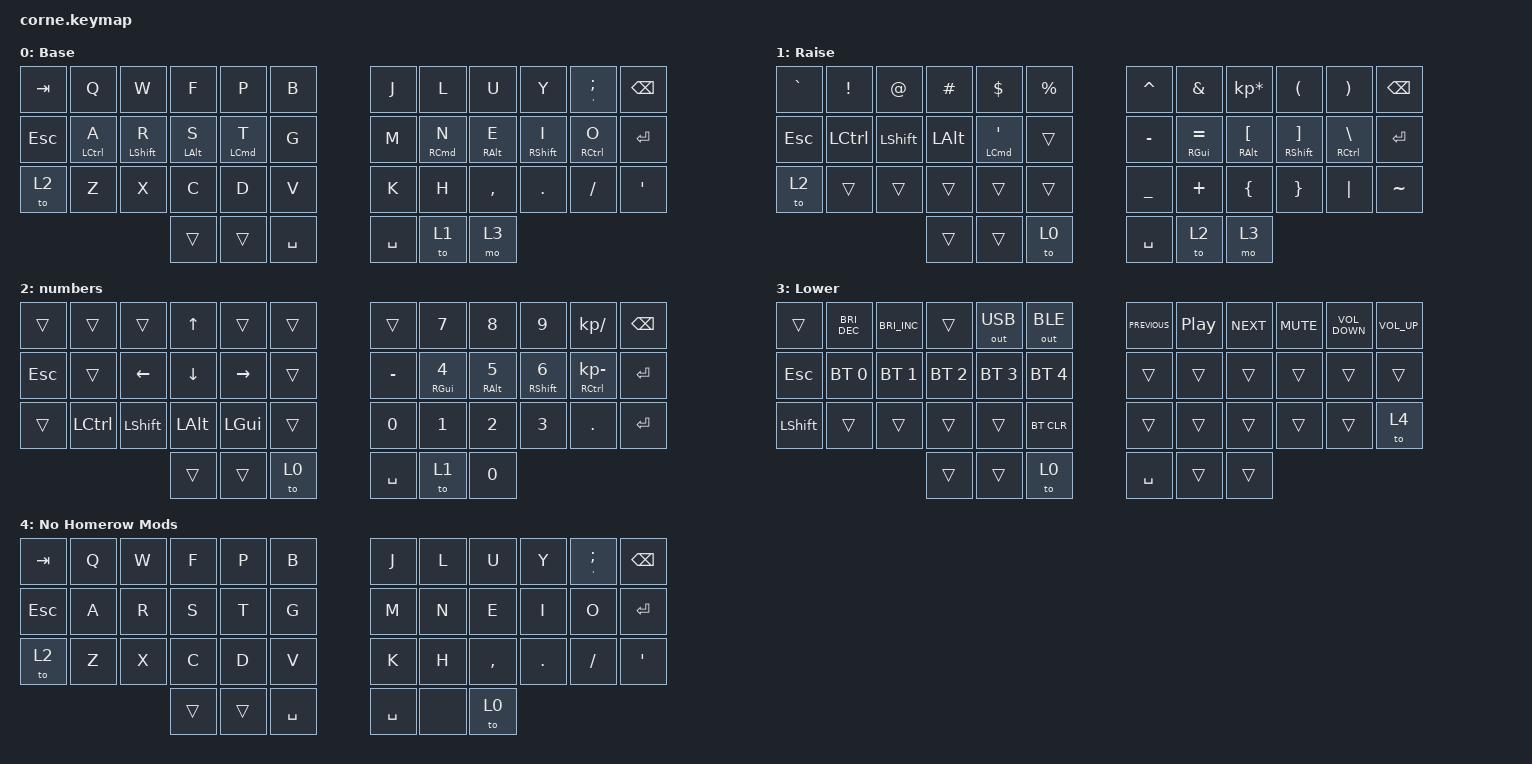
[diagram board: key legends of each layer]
/*
 * Copyright (c) 2020 The ZMK Contributors
 *
 * SPDX-License-Identifier: MIT
 */

#include <behaviors.dtsi>
#include <dt-bindings/zmk/bt.h>
#include <dt-bindings/zmk/keys.h>
#include <dt-bindings/zmk/outputs.h>

/ {
    behaviors {
        ht: hold_tap {
            compatible = "zmk,behavior-hold-tap";
            #binding-cells = <2>;
            tapping-term-ms = <200>;
            quick-tap-ms = <0>;
            flavor = "tap-preferred";
            bindings = <&kp>, <&kp>;
        };
    };

    keymap {
        compatible = "zmk,keymap";

        default_layer {
            display-name = "Base";
            bindings = <
&kp TAB     &kp Q         &kp W              &kp F            &kp P                &kp B        &kp J      &kp L                 &kp U             &kp Y               &ht SINGLE_QUOTE SEMICOLON  &kp BACKSPACE
&kp ESCAPE  &mt LCTRL A  &mt LEFT_SHIFT R  &mt LEFT_ALT S  &mt LEFT_COMMAND T  &kp G        &kp M      &mt RIGHT_COMMAND N  &mt RIGHT_ALT E  &mt RIGHT_SHIFT I  &mt RCTRL O                &kp ENTER
&to 2       &kp Z         &kp X              &kp C            &kp D                &kp V        &kp K      &kp H                 &kp COMMA         &kp DOT             &kp FSLH                    &kp SINGLE_QUOTE
                                             &trans           &trans               &kp SPACE    &kp SPACE  &to 1                 &mo 3
            >;
        };

        symbols {
            display-name = "Raise";
            bindings = <
&kp GRAVE  &kp EXCL   &kp AT          &kp HASH      &kp DLLR                        &kp PRCNT    &kp CARET  &kp AMPS              &kp KP_MULTIPLY      &kp LPAR               &kp RPAR         &kp BSPC
&kp ESC    &kp LCTRL  &kp LEFT_SHIFT  &kp LEFT_ALT  &mt LEFT_COMMAND SINGLE_QUOTE  &trans       &kp MINUS  &mt RIGHT_GUI EQUAL  &mt RIGHT_ALT LBKT  &mt RIGHT_SHIFT RBKT  &mt RCTRL BSLH  &kp ENTER
&to 2      &trans     &trans          &trans        &trans                          &trans       &kp UNDER  &kp PLUS              &kp LBRC             &kp RBRC               &kp PIPE         &kp TILDE
                                      &trans        &trans                          &to 0        &kp SPACE  &to 2                 &mo 3
            >;
        };

        numbers {
            bindings = <
&trans   &trans     &trans          &kp UP_ARROW    &trans        &trans    &trans     &kp N7              &kp N8             &kp N9                     &kp KP_DIVIDE        &kp BACKSPACE
&kp ESC  &trans     &kp LEFT        &kp DOWN_ARROW  &kp RIGHT     &trans    &kp MINUS  &mt RGUI NUMBER_4  &mt RIGHT_ALT N5  &mt RIGHT_SHIFT NUMBER_6  &mt RCTRL KP_MINUS  &kp ENTER
&trans   &kp LCTRL  &kp LEFT_SHIFT  &kp LEFT_ALT    &kp LEFT_GUI  &trans    &kp N0     &kp NUMBER_1        &kp NUMBER_2       &kp NUMBER_3               &kp DOT              &kp ENTER
                                    &trans          &trans        &to 0     &kp SPACE  &to 1               &kp N0
            >;
        };

        settings {
            display-name = "Lower";
            bindings = <
&trans          &kp C_BRIGHTNESS_DEC  &kp C_BRIGHTNESS_INC  &trans        &out OUT_USB  &out OUT_BLE    &kp C_PREVIOUS  &kp C_PLAY_PAUSE  &kp C_NEXT  &kp C_MUTE  &kp C_VOLUME_DOWN  &kp C_VOLUME_UP
&kp ESCAPE      &bt BT_SEL 0          &bt BT_SEL 1          &bt BT_SEL 2  &bt BT_SEL 3  &bt BT_SEL 4    &trans          &trans            &trans      &trans      &trans             &trans
&kp LEFT_SHIFT  &trans                &trans                &trans        &trans        &bt BT_CLR      &trans          &trans            &trans      &trans      &trans             &to 4
                                                            &trans        &trans        &to 0           &kp SPACE       &trans            &trans
            >;
        };

        no_homerow_mods {
            display-name = "No Homerow Mods";
            bindings = <
&kp TAB     &kp Q  &kp W  &kp F   &kp P   &kp B        &kp J      &kp L  &kp U      &kp Y    &ht SINGLE_QUOTE SEMICOLON  &kp BACKSPACE
&kp ESCAPE  &kp A  &kp R  &kp S   &kp T   &kp G        &kp M      &kp N  &kp E      &kp I    &kp O                       &kp ENTER
&to 2       &kp Z  &kp X  &kp C   &kp D   &kp V        &kp K      &kp H  &kp COMMA  &kp DOT  &kp FSLH                    &kp SINGLE_QUOTE
                          &trans  &trans  &kp SPACE    &kp SPACE  &none  &to 0
            >;
        };
    };
};
